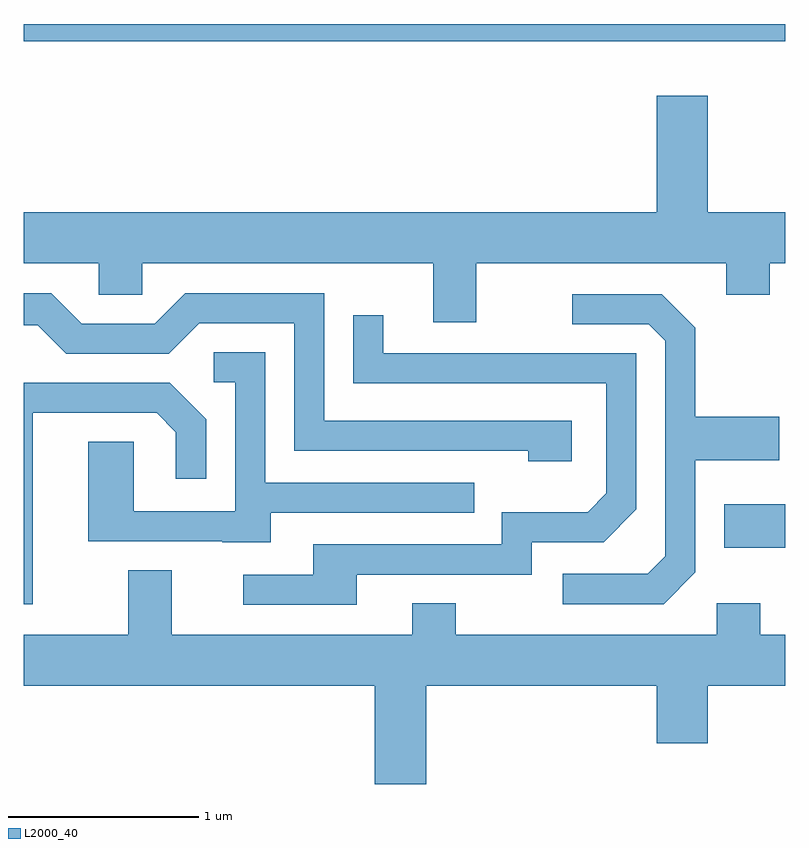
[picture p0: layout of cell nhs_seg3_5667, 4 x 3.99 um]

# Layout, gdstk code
import gdstk
lib = gdstk.Library(unit=1e-6, precision=1e-09)
def R(c, l, rs):  # rectangles x0, y0, x1, y1
    for r in rs: c.add(gdstk.rectangle(r[:2], r[2:], *l))
def P(c, l, *ps):  # polygons
    for p in ps: c.add(gdstk.Polygon(p, *l))
L2000_40 = (2000, 40)

nhs_seg3_5667 = lib.new_cell('nhs_seg3_5667')
R(nhs_seg3_5667, L2000_40, [(355.291,1171.141,355.611,1171.369), (351.611,1173.801,355.611,1173.892)])
P(nhs_seg3_5667, L2000_40, [(353.989,1172.636),(355.301,1172.636),(355.301,1172.471),(355.529,1172.471),(355.529,1172.636),(355.611,1172.636),(355.611,1172.904),(355.204,1172.904),(355.204,1173.514),(354.936,1173.514),(354.936,1172.904),(351.611,1172.904),(351.611,1172.636),(352.006,1172.636),(352.006,1172.471),(352.234,1172.471),(352.234,1172.636),(353.761,1172.636),(353.761,1172.326),(353.989,1172.326)],
  [(354.489,1171.809),(353.189,1171.809),(353.189,1172.479),(352.459,1172.479),(352.299,1172.319),(351.917,1172.319),(351.757,1172.479),(351.611,1172.479),(351.611,1172.311),(351.684,1172.311),(351.834,1172.161),(352.372,1172.161),(352.532,1172.321),(353.031,1172.321),(353.031,1171.651),(354.261,1171.651),(354.261,1171.596),(354.489,1171.596)],
  [(355.139,1171.014),(355.139,1171.601),(355.579,1171.601),(355.579,1171.829),(355.139,1171.829),(355.139,1172.297),(354.962,1172.474),(354.493,1172.474),(354.493,1172.316),(354.894,1172.316),(354.981,1172.229),(354.981,1171.097),(354.889,1171.004),(354.443,1171.004),(354.443,1170.846),(354.972,1170.846)],
  [(353.359,1171.001),(354.279,1171.001),(354.279,1171.171),(354.657,1171.171),(354.829,1171.344),(354.829,1172.164),(353.499,1172.164),(353.499,1172.363),(353.341,1172.363),(353.341,1172.006),(354.671,1172.006),(354.671,1171.427),(354.574,1171.329),(354.121,1171.329),(354.121,1171.159),(353.131,1171.159),(353.131,1170.999),(352.763,1170.999),(352.763,1170.841),(353.359,1170.841)],
  [(352.909,1171.326),(353.978,1171.326),(353.978,1171.484),(352.879,1171.484),(352.879,1172.169),(352.608,1172.169),(352.608,1172.011),(352.721,1172.011),(352.721,1171.334),(352.189,1171.334),(352.189,1171.699),(351.951,1171.699),(351.951,1171.176),(352.655,1171.176),(352.655,1171.171),(352.909,1171.171)],
  [(351.659,1171.851),(352.309,1171.851),(352.411,1171.749),(352.411,1171.503),(352.569,1171.503),(352.569,1171.817),(352.377,1172.009),(351.611,1172.009),(351.611,1170.846),(351.659,1170.846)],
  [(353.724,1170.416),(354.936,1170.416),(354.936,1170.116),(355.204,1170.116),(355.204,1170.416),(355.611,1170.416),(355.611,1170.684),(355.479,1170.684),(355.479,1170.849),(355.251,1170.849),(355.251,1170.684),(353.879,1170.684),(353.879,1170.849),(353.651,1170.849),(353.651,1170.684),(352.389,1170.684),(352.389,1171.024),(352.161,1171.024),(352.161,1170.684),(351.611,1170.684),(351.611,1170.416),(353.456,1170.416),(353.456,1169.901),(353.724,1169.901)])

lib.write_gds('nhs_seg3_5667.gds')
